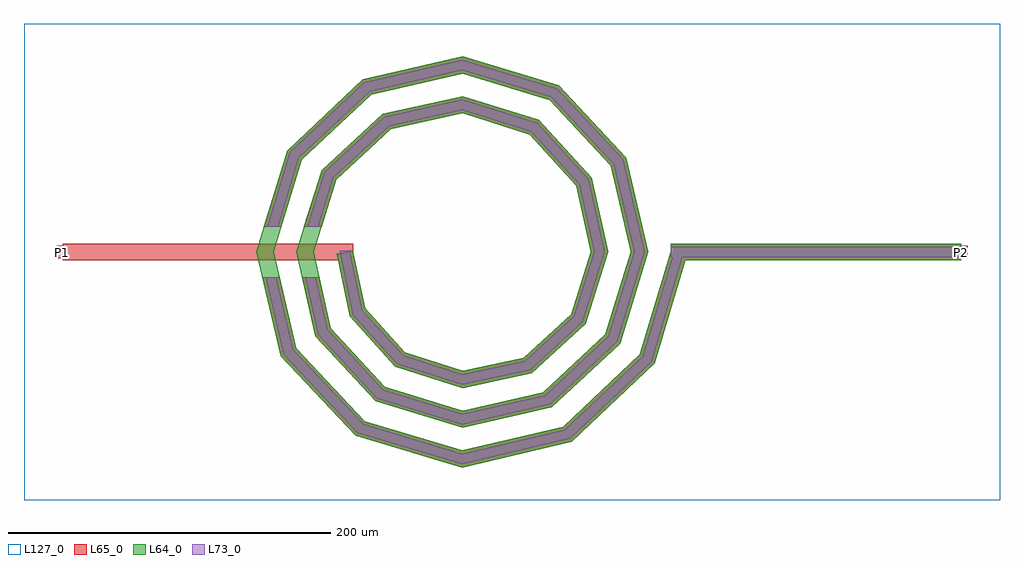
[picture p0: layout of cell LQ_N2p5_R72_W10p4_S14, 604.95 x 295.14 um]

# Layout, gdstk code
import gdstk
lib = gdstk.Library(unit=1e-6, precision=1e-09)
def R(c, l, rs):  # rectangles x0, y0, x1, y1
    for r in rs: c.add(gdstk.rectangle(r[:2], r[2:], *l))
def P(c, l, *ps):  # polygons
    for p in ps: c.add(gdstk.Polygon(p, *l))
L64_0 = (64, 0)
L65_0 = (65, 0)
L73_0 = (73, 0)
L127_0 = (127, 0)

lq_n2p5_r72_w10p4_s14 = lib.new_cell('LQ_N2p5_R72_W10p4_S14')
R(lq_n2p5_r72_w10p4_s14, L64_0, [(129.327,-5.2,309.327,5.2)])
P(lq_n2p5_r72_w10p4_s14, L64_0, [(-60.056,-34.992),(-35.549,-62.109),(0.261,-73.619),(38.058,-65.409),(67.442,-38.651),(79.788,0.242),(70.761,41.127),(41.75,72.776),(0.226,85.958),(-44.198,76.112),(-78.112,44.848),(-92.127,0.212),(-81.462,-47.272),(-47.944,-83.448),(0.199,-98.297),(50.346,-86.811),(88.785,-51.039),(104.466,0.188),(92.159,53.421),(54.133,94.123),(0.178,110.636),(-56.498,97.507),(-99.462,57.226),(-116.806,0.169),(-102.855,-59.575),(-60.318,-104.801),(0.161,-122.976),(62.653,-108.202),(110.14,-63.41),(129.545,1.49),(139.509,-1.49),(119.305,-69.061),(67.761,-117.681),(0.161,-133.739),(-65.983,-113.958),(-112.342,-64.669),(-127.568,0.169),(-108.61,62.905),(-61.576,107.003),(0.178,121.398),(59.828,103.262),(101.664,58.482),(115.228,0.188),(97.913,-56.751),(55.388,-96.325),(0.199,-109.057),(-53.676,-92.564),(-90.988,-52.292),(-102.887,0.212),(-87.213,50.602),(-49.195,85.651),(0.226,96.716),(47.53,81.862),(80.315,46.096),(90.546,0.242),(76.509,-44.459),(42.995,-74.979),(0.261,-84.375),(-41.391,-71.155),(-69.646,-39.892),(-77.913,-1.083),(-67.741,1.083)])
R(lq_n2p5_r72_w10p4_s14, L65_0, [(-247.627,-5.2,-67.627,5.2), (129.327,-5.2,309.327,5.2), (-251.627,-4,-243.627,4), (305.327,-4,313.327,4)])
P(lq_n2p5_r72_w10p4_s14, L65_0, [(-102.855,-59.575),(-60.318,-104.801),(0.161,-122.976),(62.653,-108.202),(110.14,-63.41),(129.545,1.49),(139.509,-1.49),(119.306,-69.061),(67.761,-117.681),(0.161,-133.739),(-65.983,-113.958),(-112.342,-64.669),(-123.865,-15.6),(-113.182,-15.6)],
  [(-81.462,-47.272),(-47.944,-83.448),(0.199,-98.297),(50.346,-86.811),(88.785,-51.039),(104.467,0.188),(92.159,53.421),(54.133,94.123),(0.178,110.636),(-56.498,97.507),(-99.462,57.226),(-112.041,15.6),(-122.905,15.6),(-108.61,62.905),(-61.576,107.003),(0.178,121.398),(59.828,103.262),(101.664,58.482),(115.228,0.188),(97.913,-56.751),(55.388,-96.325),(0.199,-109.057),(-53.676,-92.564),(-90.988,-52.292),(-99.303,-15.6),(-88.64,-15.6)],
  [(-35.549,-62.109),(0.261,-73.619),(38.058,-65.409),(67.442,-38.651),(79.788,0.242),(70.761,41.127),(41.75,72.776),(0.226,85.958),(-44.199,76.112),(-78.112,44.848),(-87.209,15.6),(-98.101,15.6),(-87.213,50.602),(-49.195,85.651),(0.226,96.716),(47.53,81.862),(80.315,46.096),(90.546,0.242),(76.509,-44.46),(42.995,-74.98),(0.261,-84.375),(-41.391,-71.155),(-69.646,-39.892),(-77.913,-1.083),(-67.741,1.083),(-60.056,-34.992)])
R(lq_n2p5_r72_w10p4_s14, L73_0, [(129.327,-3.2,309.327,3.2)])
P(lq_n2p5_r72_w10p4_s14, L73_0, [(-104.679,-60.555),(-61.407,-106.562),(0.099,-125.046),(63.636,-110.025),(111.903,-64.496),(131.461,0.917),(137.593,0.917),(117.543,-67.974),(66.778,-115.859),(0.099,-131.669),(-64.893,-112.197),(-110.517,-63.689),(-121.811,-15.6),(-115.237,-15.6)],
  [(-83.294,-48.237),(-49.047,-85.201),(0.123,-100.366),(51.316,-88.641),(90.541,-52.138),(106.536,0.116),(93.987,54.395),(55.228,95.881),(0.11,112.706),(-57.475,99.333),(-101.221,58.318),(-114.13,15.6),(-120.816,15.6),(-106.851,61.813),(-60.599,105.177),(0.11,119.329),(58.733,101.505),(99.836,57.509),(113.158,0.116),(96.158,-55.653),(54.418,-94.496),(0.123,-106.988),(-52.574,-90.811),(-89.156,-51.327),(-97.253,-15.6),(-90.69,-15.6)],
  [(-36.672,-63.849),(0.161,-75.687),(39.008,-67.25),(69.186,-39.768),(81.857,0.149),(72.598,42.083),(42.862,74.523),(0.139,88.027),(-45.159,77.946),(-79.862,45.955),(-89.304,15.6),(-96.006,15.6),(-85.463,49.496),(-48.234,83.816),(0.139,94.647),(46.419,80.115),(78.477,45.141),(88.477,0.149),(74.766,-43.342),(42.046,-73.139),(0.161,-82.306),(-40.268,-69.416),(-67.802,-38.949),(-75.957,0.667),(-69.697,0.667),(-61.9,-35.934)])
R(lq_n2p5_r72_w10p4_s14, L127_0, [(-271.627,-153.739,333.327,141.398)])
lq_n2p5_r72_w10p4_s14.add(gdstk.Label('P2', (309.327,0), layer=65, texttype=0))
lq_n2p5_r72_w10p4_s14.add(gdstk.Label('P1', (-247.627,0), layer=65, texttype=0))
lq_n2p5_r72_w10p4_s14.add(gdstk.Label('P2', (313.327,0), layer=145, texttype=0))
lq_n2p5_r72_w10p4_s14.add(gdstk.Label('P1', (-251.627,0), layer=145, texttype=0))

lib.write_gds('LQ_N2p5_R72_W10p4_S14.gds')
